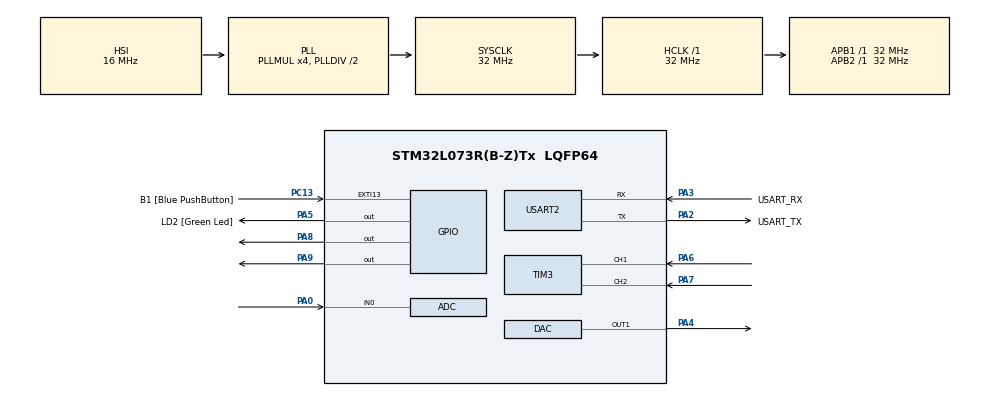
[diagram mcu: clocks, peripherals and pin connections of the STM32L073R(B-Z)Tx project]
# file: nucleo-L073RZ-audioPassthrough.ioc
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ADC.ClockPrescaler=ADC_CLOCK_ASYNC_DIV1
ADC.ContinuousConvMode=DISABLE
ADC.DMAContinuousRequests=ENABLE
ADC.DiscontinuousConvMode=DISABLE
ADC.EOCSelection=ADC_EOC_SINGLE_CONV
ADC.EnableAnalogWatchDog=false
ADC.ExternalTrigConv=ADC_EXTERNALTRIGCONV_T6_TRGO
ADC.ExternalTrigConvEdge=ADC_EXTERNALTRIGCONVEDGE_RISING
ADC.Overrun=ADC_OVR_DATA_OVERWRITTEN
ADC.OversamplingMode=DISABLE
ADC.Resolution=ADC_RESOLUTION_12B
ADC.SamplingTime=ADC_SAMPLETIME_3CYCLES_5
DAC.DAC_Trigger=DAC_TRIGGER_T6_TRGO
DAC.WaveGeneration=DISABLE
Dma.ADC.1.Direction=DMA_PERIPH_TO_MEMORY
Dma.ADC.1.Instance=DMA1_Channel1
Dma.ADC.1.MemDataAlignment=DMA_MDATAALIGN_HALFWORD
Dma.ADC.1.MemInc=DMA_MINC_ENABLE
Dma.ADC.1.Mode=DMA_CIRCULAR
Dma.ADC.1.PeriphDataAlignment=DMA_PDATAALIGN_HALFWORD
Dma.ADC.1.PeriphInc=DMA_PINC_DISABLE
Dma.ADC.1.Priority=DMA_PRIORITY_HIGH
Dma.DAC_CH1.0.Direction=DMA_MEMORY_TO_PERIPH
Dma.DAC_CH1.0.Instance=DMA1_Channel2
Dma.DAC_CH1.0.MemDataAlignment=DMA_MDATAALIGN_HALFWORD
Dma.DAC_CH1.0.MemInc=DMA_MINC_ENABLE
Dma.DAC_CH1.0.Mode=DMA_CIRCULAR
Dma.DAC_CH1.0.PeriphDataAlignment=DMA_PDATAALIGN_HALFWORD
Dma.DAC_CH1.0.PeriphInc=DMA_PINC_DISABLE
Dma.DAC_CH1.0.Priority=DMA_PRIORITY_HIGH
Dma.Request0=DAC_CH1
Dma.Request1=ADC
Mcu.Family=STM32L0
Mcu.Name=STM32L073R(B-Z)Tx
Mcu.Package=LQFP64
NVIC.ADC1_COMP_IRQn=true\:0\:0\:false\:false\:true\:true\:true\:true
NVIC.DMA1_Channel1_IRQn=true\:0\:0\:false\:false\:true\:false\:true\:true
NVIC.DMA1_Channel2_3_IRQn=true\:0\:0\:false\:false\:true\:false\:true\:true
NVIC.EXTI4_15_IRQn=true\:0\:0\:false\:false\:true\:true\:true\:true
NVIC.TIM3_IRQn=true\:0\:0\:false\:false\:true\:true\:true\:true
NVIC.TIM6_DAC_IRQn=true\:0\:0\:false\:false\:true\:true\:true\:true
PA0.Mode=IN0
PA0.Signal=ADC_IN0
PA13.GPIO_Label=TMS
PA13.Mode=Serial_Wire
PA13.Signal=SYS_SWDIO
PA14.GPIO_Label=TCK
PA14.Mode=Serial_Wire
PA14.Signal=SYS_SWCLK
PA2.GPIO_Label=USART_TX
PA2.Mode=Asynchronous
PA2.Signal=USART2_TX
PA3.GPIO_Label=USART_RX
PA3.Mode=Asynchronous
PA3.Signal=USART2_RX
PA4.Signal=COMP_DAC1_group
PA5.GPIO_Label=LD2 [Green Led]
PA5.Signal=GPIO_Output
PA6.Signal=S_TIM3_CH1
PA7.Signal=S_TIM3_CH2
PA8.Signal=GPIO_Output
PA9.Signal=GPIO_Output
PC13.GPIO_Label=B1 [Blue PushButton]
PC13.GPIO_ModeDefaultEXTI=GPIO_MODE_IT_FALLING
PC13.Signal=GPXTI13
PC14-OSC32_IN.Mode=LSE-External-Oscillator
PC14-OSC32_IN.Signal=RCC_OSC32_IN
PC15-OSC32_OUT.Mode=LSE-External-Oscillator
PC15-OSC32_OUT.Signal=RCC_OSC32_OUT
PH0-OSC_IN.GPIO_Label=MCO
PH0-OSC_IN.Mode=HSE-External-Clock-Source
PH0-OSC_IN.Signal=RCC_OSC_IN
ProjectManager.HeapSize=0x200
ProjectManager.StackSize=0x400
ProjectManager.TargetToolchain=STM32CubeIDE
RCC.ADCFreq_Value=16000000
RCC.AHBFreq_Value=32000000
RCC.APB1Freq_Value=32000000
RCC.APB1TimFreq_Value=32000000
RCC.APB2Freq_Value=32000000
RCC.APB2TimFreq_Value=32000000
RCC.HCLKFreq_Value=32000000
RCC.HSE_VALUE=8000000
RCC.HSI16_VALUE=16000000
RCC.HSI48_VALUE=48000000
RCC.HSI_VALUE=16000000
RCC.MSIClockRange=RCC_MSIRANGE_6
RCC.MSI_VALUE=4194000
RCC.PLLMUL=RCC_PLLMUL_4
RCC.SYSCLKFreq_VALUE=32000000
RCC.SYSCLKSource=RCC_SYSCLKSOURCE_PLLCLK
RCC.VCOOutputFreq_Value=64000000
SH.COMP_DAC1_group.0=DAC_OUT1,DAC_OUT1
SH.S_TIM3_CH1.0=TIM3_CH1,Encoder_Interface
SH.S_TIM3_CH2.0=TIM3_CH2,Encoder_Interface
TIM6.AutoReloadPreload=TIM_AUTORELOAD_PRELOAD_ENABLE
TIM6.Period=730
TIM6.Prescaler=0
TIM6.TIM_MasterOutputTrigger=TIM_TRGO_UPDATE
USART2.VirtualMode-Asynchronous=VM_ASYNC
VP_TIM6_VS_ClockSourceINT.Mode=Enable_Timer
board=NUCLEO-L073RZ

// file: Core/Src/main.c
/* USER CODE BEGIN Header */
/**
 ******************************************************************************
 * @file           : main.c
 * @brief          : Main program body
 ******************************************************************************
 * @attention
 *
 * Copyright (c) 2024 STMicroelectronics.
 * All rights reserved.
 *
 * This software is licensed under terms that can be found in the LICENSE file
 * in the root directory of this software component.
 * If no LICENSE file comes with this software, it is provided AS-IS.
 *
 ******************************************************************************
 */
/* USER CODE END Header */
#include "main.h"

/* USER CODE BEGIN Includes */
#include <stdio.h>
#include <string.h>
#include <math.h>

#include "circular_buffer.h" // type and methods to use a circular buffer
#include "double_buffer.h" // type and methods to use a circular buffer
#include "wavetable.h" // holds a wave table: uint16_t flash_table, stored in flash
/* USER CODE END Includes */

/* USER CODE BEGIN PD */

// Note: Max RAM: 20KB, Max flash: 192KB
#define ADC_BUFFER_SIZE 512 // size in samples of the DMA ADC buffer (two halves). must be even
#define AUX_BUFFER_SIZE 512
#define DAC_BUFFER_SIZE 512 // size in samples of the DMA DAC buffer (two halves). must be even
#define SINE_TABLE_SIZE 128 // size in samples of the sine wave table (1 period)
#define SINE_TABLE_AMPLITUDE 0.8 // amplitude of the precomputed sine wave. max = 1
#define DAC_MAX_VALUE 4095
#define UART_BUFFER_SIZE 100
#define USER_BUTTON_STEPS 1000 // number of times USER button is pressed until button_counter reset

/* USER CODE END PD */

ADC_HandleTypeDef hadc;
DMA_HandleTypeDef hdma_adc;

DAC_HandleTypeDef hdac;
DMA_HandleTypeDef hdma_dac_ch1;

TIM_HandleTypeDef htim3;
TIM_HandleTypeDef htim6;

UART_HandleTypeDef huart2;

/* USER CODE BEGIN PV */

uint16_t button_counter = 0; // cyclic counter for user button edges

// Array buffers
uint16_t sine_wave_table[SINE_TABLE_SIZE];
uint8_t uart_buf[UART_BUFFER_SIZE];

// Double buffers
uint16_t adc_dma_buffer[ADC_BUFFER_SIZE]; // ADC circular buffer memory
doublebuff_t adc_buffer = { // ADC circular buffer struct
		.buffer = adc_dma_buffer, .first_half_ready = 0, .second_half_ready = 0,
				.next_pos_to_process = 0, .maxlen =
				ADC_BUFFER_SIZE };

uint16_t dac_dma_buffer[DAC_BUFFER_SIZE]; // DAC circular buffer memory
doublebuff_t dac_buffer = { // DAC circular buffer struct
		.buffer = dac_dma_buffer, .first_half_ready = 0, .second_half_ready = 0,
				.next_pos_to_process = 0, .maxlen =
				DAC_BUFFER_SIZE };

// Circular buffers
uint16_t aux_buffer_space[AUX_BUFFER_SIZE]; // aux buffer memory space
circbuff_t auxiliar_buffer = { // DAC circular buffer struct
		.buffer = aux_buffer_space, .head = 0, .tail = 0, .maxlen =
		AUX_BUFFER_SIZE };

/* USER CODE END PV */

void SystemClock_Config(void);
static void MX_GPIO_Init(void);
static void MX_DMA_Init(void);
static void MX_USART2_UART_Init(void);
static void MX_DAC_Init(void);
static void MX_TIM6_Init(void);
static void MX_ADC_Init(void);
static void MX_TIM3_Init(void);

int main(void) {

	/* MCU Configuration--------------------------------------------------------*/

	/* Reset of all peripherals, Initializes the Flash interface and the Systick. */
	HAL_Init();

	/* Configure the system clock */
	SystemClock_Config();

	/* Initialize all configured peripherals */
	MX_GPIO_Init();
	MX_DMA_Init();
	MX_USART2_UART_Init();
	MX_DAC_Init();
	MX_TIM6_Init();
	MX_ADC_Init();
	MX_TIM3_Init();
	/* USER CODE BEGIN 2 */

	// Initial message
	strcpy((char*) uart_buf,
			"The peripherals have been configured successfully.\r\n");
	HAL_UART_Transmit(&huart2, uart_buf, strlen((char*) uart_buf),
	HAL_MAX_DELAY);

	// Sine wave generation and storage in memory
	for (int n = 0; n < SINE_TABLE_SIZE; n++) { // generates a 12-bit sine wave, 1 period
		double sinn = SINE_TABLE_AMPLITUDE
				* sin((2 * M_PI * n) / SINE_TABLE_SIZE);
		sine_wave_table[n] = (uint16_t) (((DAC_MAX_VALUE - 1) / 2) * sinn
				+ ((DAC_MAX_VALUE - 1) / 2)); // adapt to DAC range
	}
	strcpy((char*) uart_buf,
			"A sinusoidal wave has been stored in memory.\r\n");
	HAL_UART_Transmit(&huart2, uart_buf, strlen((char*) uart_buf),
	HAL_MAX_DELAY);

	// Timer 3 start (for encoder)
	HAL_TIM_Encoder_Start_IT(&htim3, TIM_CHANNEL_ALL);

	// Preloads FIR buffer with some zeros
	for (int i = 0; i < 10; i++) {
		uint16_t zero = 0;
		while (!circular_buffer_push(&auxiliar_buffer, &zero) == 0) {
		}
	}

	// Timer 6 start (for DAC & ADC)
	HAL_TIM_Base_Start(&htim6); // starts timer 6
	//HAL_TIM_Base_Start_IT(&htim6) // with interrupts

	// ADC DMA start
	HAL_ADCEx_Calibration_Start(&hadc, ADC_SINGLE_ENDED);
	HAL_ADC_Start_DMA(&hadc, (uint32_t*) adc_dma_buffer, ADC_BUFFER_SIZE);

	// DAC DMA start
	HAL_DAC_Start_DMA(&hdac, DAC_CHANNEL_1, (uint32_t*) dac_dma_buffer,
	DAC_BUFFER_SIZE, DAC_ALIGN_12B_R);

	/* USER CODE END 2 */

	/* Infinite loop */
	/* USER CODE BEGIN WHILE */

	uint16_t sample;
	uint32_t n = 0;
	//uint16_t coeffs[] = { 1 };
	//uint16_t order = 1;

	while (1) {

		if (adc_double_buffer_pop(&adc_buffer, &sample) == 0) {
			circular_buffer_push(&auxiliar_buffer, &sample);
		}

		if (circular_buffer_pop(&auxiliar_buffer, &sample) == 0) {
			if (button_counter % 2 == 0) { // when USER button is toggled
				sample = sample / 2 + (sine_wave_table[n] / 2); // superposes a sine on the output
				n = (n + 1) % SINE_TABLE_SIZE;
			}
			dac_double_buffer_push(&dac_buffer, &sample);
		}

		/* USER CODE END WHILE */

	}
}

void SystemClock_Config(void) {
	RCC_OscInitTypeDef RCC_OscInitStruct = { 0 };
	RCC_ClkInitTypeDef RCC_ClkInitStruct = { 0 };
	RCC_PeriphCLKInitTypeDef PeriphClkInit = { 0 };

	/** Configure the main internal regulator output voltage
	 */
	__HAL_PWR_VOLTAGESCALING_CONFIG(PWR_REGULATOR_VOLTAGE_SCALE1);

	/** Initializes the RCC Oscillators according to the specified parameters
	 * in the RCC_OscInitTypeDef structure.
	 */
	RCC_OscInitStruct.OscillatorType = RCC_OSCILLATORTYPE_HSI;
	RCC_OscInitStruct.HSIState = RCC_HSI_ON;
	RCC_OscInitStruct.HSICalibrationValue = RCC_HSICALIBRATION_DEFAULT;
	RCC_OscInitStruct.PLL.PLLState = RCC_PLL_ON;
	RCC_OscInitStruct.PLL.PLLSource = RCC_PLLSOURCE_HSI;
	RCC_OscInitStruct.PLL.PLLMUL = RCC_PLLMUL_4;
	RCC_OscInitStruct.PLL.PLLDIV = RCC_PLLDIV_2;
	if (HAL_RCC_OscConfig(&RCC_OscInitStruct) != HAL_OK) {
		Error_Handler();
	}

	/** Initializes the CPU, AHB and APB buses clocks
	 */
	RCC_ClkInitStruct.ClockType = RCC_CLOCKTYPE_HCLK | RCC_CLOCKTYPE_SYSCLK
			| RCC_CLOCKTYPE_PCLK1 | RCC_CLOCKTYPE_PCLK2;
	RCC_ClkInitStruct.SYSCLKSource = RCC_SYSCLKSOURCE_PLLCLK;
	RCC_ClkInitStruct.AHBCLKDivider = RCC_SYSCLK_DIV1;
	RCC_ClkInitStruct.APB1CLKDivider = RCC_HCLK_DIV1;
	RCC_ClkInitStruct.APB2CLKDivider = RCC_HCLK_DIV1;

	if (HAL_RCC_ClockConfig(&RCC_ClkInitStruct, FLASH_LATENCY_1) != HAL_OK) {
		Error_Handler();
	}
	PeriphClkInit.PeriphClockSelection = RCC_PERIPHCLK_USART2;
	PeriphClkInit.Usart2ClockSelection = RCC_USART2CLKSOURCE_PCLK1;
	if (HAL_RCCEx_PeriphCLKConfig(&PeriphClkInit) != HAL_OK) {
		Error_Handler();
	}
}

static void MX_ADC_Init(void) {

	ADC_ChannelConfTypeDef sConfig = { 0 };

	/** Configure the global features of the ADC (Clock, Resolution, Data Alignment and number of conversion)
	 */
	hadc.Instance = ADC1;
	hadc.Init.OversamplingMode = DISABLE;
	hadc.Init.ClockPrescaler = ADC_CLOCK_ASYNC_DIV1;
	hadc.Init.Resolution = ADC_RESOLUTION_12B;
	hadc.Init.SamplingTime = ADC_SAMPLETIME_3CYCLES_5;
	hadc.Init.ScanConvMode = ADC_SCAN_DIRECTION_FORWARD;
	hadc.Init.DataAlign = ADC_DATAALIGN_RIGHT;
	hadc.Init.ContinuousConvMode = DISABLE;
	hadc.Init.DiscontinuousConvMode = DISABLE;
	hadc.Init.ExternalTrigConvEdge = ADC_EXTERNALTRIGCONVEDGE_RISING;
	hadc.Init.ExternalTrigConv = ADC_EXTERNALTRIGCONV_T6_TRGO;
	hadc.Init.DMAContinuousRequests = ENABLE;
	hadc.Init.EOCSelection = ADC_EOC_SINGLE_CONV;
	hadc.Init.Overrun = ADC_OVR_DATA_OVERWRITTEN;
	hadc.Init.LowPowerAutoWait = DISABLE;
	hadc.Init.LowPowerFrequencyMode = DISABLE;
	hadc.Init.LowPowerAutoPowerOff = DISABLE;
	if (HAL_ADC_Init(&hadc) != HAL_OK) {
		Error_Handler();
	}

	/** Configure for the selected ADC regular channel to be converted.
	 */
	sConfig.Channel = ADC_CHANNEL_0;
	sConfig.Rank = ADC_RANK_CHANNEL_NUMBER;
	if (HAL_ADC_ConfigChannel(&hadc, &sConfig) != HAL_OK) {
		Error_Handler();
	}

}

static void MX_DAC_Init(void) {

	DAC_ChannelConfTypeDef sConfig = { 0 };

	/** DAC Initialization
	 */
	hdac.Instance = DAC;
	if (HAL_DAC_Init(&hdac) != HAL_OK) {
		Error_Handler();
	}

	/** DAC channel OUT1 config
	 */
	sConfig.DAC_Trigger = DAC_TRIGGER_T6_TRGO;
	sConfig.DAC_OutputBuffer = DAC_OUTPUTBUFFER_ENABLE;
	if (HAL_DAC_ConfigChannel(&hdac, &sConfig, DAC_CHANNEL_1) != HAL_OK) {
		Error_Handler();
	}

}

static void MX_TIM3_Init(void) {

	TIM_Encoder_InitTypeDef sConfig = { 0 };
	TIM_MasterConfigTypeDef sMasterConfig = { 0 };

	htim3.Instance = TIM3;
	htim3.Init.Prescaler = 0;
	htim3.Init.CounterMode = TIM_COUNTERMODE_UP;
	htim3.Init.Period = 65535;
	htim3.Init.ClockDivision = TIM_CLOCKDIVISION_DIV1;
	htim3.Init.AutoReloadPreload = TIM_AUTORELOAD_PRELOAD_DISABLE;
	sConfig.EncoderMode = TIM_ENCODERMODE_TI1;
	sConfig.IC1Polarity = TIM_ICPOLARITY_RISING;
	sConfig.IC1Selection = TIM_ICSELECTION_DIRECTTI;
	sConfig.IC1Prescaler = TIM_ICPSC_DIV1;
	sConfig.IC1Filter = 0;
	sConfig.IC2Polarity = TIM_ICPOLARITY_RISING;
	sConfig.IC2Selection = TIM_ICSELECTION_DIRECTTI;
	sConfig.IC2Prescaler = TIM_ICPSC_DIV1;
	sConfig.IC2Filter = 0;
	if (HAL_TIM_Encoder_Init(&htim3, &sConfig) != HAL_OK) {
		Error_Handler();
	}
	sMasterConfig.MasterOutputTrigger = TIM_TRGO_RESET;
	sMasterConfig.MasterSlaveMode = TIM_MASTERSLAVEMODE_DISABLE;
	if (HAL_TIMEx_MasterConfigSynchronization(&htim3, &sMasterConfig)
			!= HAL_OK) {
		Error_Handler();
	}
	if (HAL_TIMEx_RemapConfig(&htim3, TIM3_TI1_GPIO) != HAL_OK) {
		Error_Handler();
	}

}

static void MX_TIM6_Init(void) {

	TIM_MasterConfigTypeDef sMasterConfig = { 0 };

	htim6.Instance = TIM6;
	htim6.Init.Prescaler = 0;
	htim6.Init.CounterMode = TIM_COUNTERMODE_UP;
	htim6.Init.Period = 730;
	htim6.Init.AutoReloadPreload = TIM_AUTORELOAD_PRELOAD_ENABLE;
	if (HAL_TIM_Base_Init(&htim6) != HAL_OK) {
		Error_Handler();
	}
	sMasterConfig.MasterOutputTrigger = TIM_TRGO_UPDATE;
	sMasterConfig.MasterSlaveMode = TIM_MASTERSLAVEMODE_DISABLE;
	if (HAL_TIMEx_MasterConfigSynchronization(&htim6, &sMasterConfig)
			!= HAL_OK) {
		Error_Handler();
	}

}

static void MX_USART2_UART_Init(void) {

	huart2.Instance = USART2;
	huart2.Init.BaudRate = 115200;
	huart2.Init.WordLength = UART_WORDLENGTH_8B;
	huart2.Init.StopBits = UART_STOPBITS_1;
	huart2.Init.Parity = UART_PARITY_NONE;
	huart2.Init.Mode = UART_MODE_TX_RX;
	huart2.Init.HwFlowCtl = UART_HWCONTROL_NONE;
	huart2.Init.OverSampling = UART_OVERSAMPLING_16;
	huart2.Init.OneBitSampling = UART_ONE_BIT_SAMPLE_DISABLE;
	huart2.AdvancedInit.AdvFeatureInit = UART_ADVFEATURE_NO_INIT;
	if (HAL_UART_Init(&huart2) != HAL_OK) {
		Error_Handler();
	}

}

static void MX_DMA_Init(void) {

	/* DMA controller clock enable */
	__HAL_RCC_DMA1_CLK_ENABLE();

	/* DMA interrupt init */
	/* DMA1_Channel1_IRQn interrupt configuration */
	HAL_NVIC_SetPriority(DMA1_Channel1_IRQn, 0, 0);
	HAL_NVIC_EnableIRQ(DMA1_Channel1_IRQn);
	/* DMA1_Channel2_3_IRQn interrupt configuration */
	HAL_NVIC_SetPriority(DMA1_Channel2_3_IRQn, 0, 0);
	HAL_NVIC_EnableIRQ(DMA1_Channel2_3_IRQn);

}

static void MX_GPIO_Init(void) {
	GPIO_InitTypeDef GPIO_InitStruct = { 0 };

	/* GPIO Ports Clock Enable */
	__HAL_RCC_GPIOC_CLK_ENABLE();
	__HAL_RCC_GPIOH_CLK_ENABLE();
	__HAL_RCC_GPIOA_CLK_ENABLE();

	/*Configure GPIO pin Output Level */
	HAL_GPIO_WritePin(GPIOA, LD2_Pin | GPIO_PIN_8 | GPIO_PIN_9, GPIO_PIN_RESET);

	/*Configure GPIO pin : B1_Pin */
	GPIO_InitStruct.Pin = B1_Pin;
	GPIO_InitStruct.Mode = GPIO_MODE_IT_FALLING;
	GPIO_InitStruct.Pull = GPIO_NOPULL;
	HAL_GPIO_Init(B1_GPIO_Port, &GPIO_InitStruct);

	/*Configure GPIO pins : LD2_Pin PA8 PA9 */
	GPIO_InitStruct.Pin = LD2_Pin | GPIO_PIN_8 | GPIO_PIN_9;
	GPIO_InitStruct.Mode = GPIO_MODE_OUTPUT_PP;
	GPIO_InitStruct.Pull = GPIO_NOPULL;
	GPIO_InitStruct.Speed = GPIO_SPEED_FREQ_LOW;
	HAL_GPIO_Init(GPIOA, &GPIO_InitStruct);

	/* EXTI interrupt init*/
	HAL_NVIC_SetPriority(EXTI4_15_IRQn, 0, 0);
	HAL_NVIC_EnableIRQ(EXTI4_15_IRQn);

}

/* USER CODE BEGIN 4 */

/*
 void set_TIM6_frequency(uint32_t freq){
 uint32_t pclk1 = HAL_RCC_GetPCLK1Freq(); // Get PCLK1 frequency
 __HAL_TIM_SET_PRESCALER(&htim6,0); // sets TIM6 prescaler to 0 (disabled)
 uint32_t counter_period = pclk1/freq;
 __HAL_TIM_SET_AUTORELOAD(&htim6, counter_period);
 }

 void set_tone_frequency(uint32_t freq){
 set_TIM6_frequency(freq * WAVE_TABLE_SAMPLES);
 }

 //Calls set_tone_frequency() with the frequencies of a non-tempered C scale
 void set_tone_note(uint16_t note){
 switch (note)
 {
 case 0:
 set_tone_frequency(262);
 break;
 case 1:
 set_tone_frequency(294);
 break;
 case 2:
 set_tone_frequency(330);
 break;
 case 3:
 set_tone_frequency(349);
 break;
 case 4:
 set_tone_frequency(392);
 break;
 case 5:
 set_tone_frequency(440);
 break;
 case 6:
 set_tone_frequency(494);
 break;
 case 7:
 set_tone_frequency(523);
 break;
 default:
 set_tone_frequency(440);
 }
 }
 */

void HAL_GPIO_EXTI_Callback(uint16_t GPIO_Pin) {
	HAL_GPIO_TogglePin(GPIOA, GPIO_PIN_5);
	if (GPIO_Pin == B1_Pin) {
		button_counter = (button_counter + 1) % USER_BUTTON_STEPS;
	}

}

void HAL_ADC_ConvHalfCpltCallback(ADC_HandleTypeDef *hadc) {
	adc_buffer.first_half_ready = 1;
}

void HAL_ADC_ConvCpltCallback(ADC_HandleTypeDef *hadc) {
	adc_buffer.second_half_ready = 1;
}

void HAL_DAC_ConvHalfCpltCallbackCh1(DAC_HandleTypeDef *hdac) {
	dac_buffer.first_half_ready = 1;
}

void HAL_DAC_ConvCpltCallbackCh1(DAC_HandleTypeDef *hdac) {
	dac_buffer.second_half_ready = 1;
}

/*
 void HAL_DAC_DMAUnderrunCallbackCh1(DAC_HandleTypeDef *hdac) {
 HAL_GPIO_TogglePin(GPIOA, GPIO_PIN_8);
 }

 void HAL_DAC_ErrorCallbackCh1(DAC_HandleTypeDef *hdac) {
 HAL_GPIO_TogglePin(GPIOA, GPIO_PIN_9);
 }
 */

/* USER CODE END 4 */

void Error_Handler(void) {
	__disable_irq();
	while (1) {
	}
}
